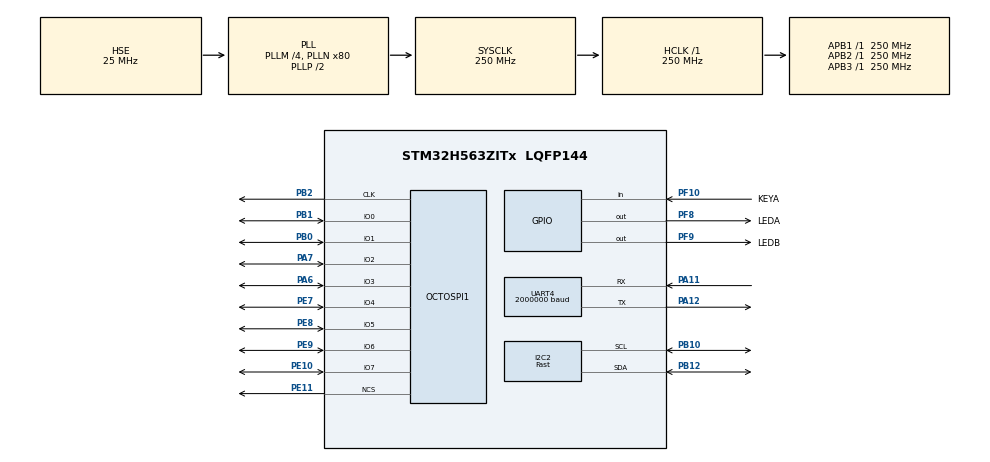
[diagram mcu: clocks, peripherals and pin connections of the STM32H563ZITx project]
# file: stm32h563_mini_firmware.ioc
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BOOTPATH.BootPathName=LEGACY
BOOTPATH.UserSelectedBootPath=LEGACY
CORTEX_M33_NS.userName=CORTEX_M33
GPDMA2.ADDRESSING2D_GPDMACH6=DISABLE
GPDMA2.CIRCULARMODE_GPDMACH0=ENABLE
GPDMA2.DESTINC_GPDMACH0=DMA_DINC_INCREMENTED
GPDMA2.DESTINC_GPDMACH7=DMA_DINC_INCREMENTED
GPDMA2.DIRECTION_GPDMACH1=DMA_MEMORY_TO_PERIPH
GPDMA2.DIRECTION_GPDMACH6=DMA_MEMORY_TO_PERIPH
GPDMA2.DMAHANDLE_GPDMACH6=hdmatx
GPDMA2.IPHANDLE_GPDMACH0-SIMPLEREQUEST_GPDMACH0=__NULL
GPDMA2.IPHANDLE_GPDMACH1-SIMPLEREQUEST_GPDMACH1=__NULL
GPDMA2.IPHANDLE_GPDMACH6-SIMPLEREQUEST_GPDMACH6=__NULL
GPDMA2.IPHANDLE_GPDMACH7-SIMPLEREQUEST_GPDMACH7=__NULL
GPDMA2.PRIORITY_GPDMACH1=DMA_LOW_PRIORITY_HIGH_WEIGHT
GPDMA2.PRIORITY_GPDMACH7=DMA_LOW_PRIORITY_MID_WEIGHT
GPDMA2.REQUEST_GPDMACH0=GPDMA2_REQUEST_UART4_RX
GPDMA2.REQUEST_GPDMACH1=GPDMA2_REQUEST_UART4_TX
GPDMA2.REQUEST_GPDMACH6=GPDMA2_REQUEST_OCTOSPI1
GPDMA2.REQUEST_GPDMACH7=GPDMA2_REQUEST_OCTOSPI1
GPDMA2.SRCINC_GPDMACH1=DMA_SINC_INCREMENTED
GPDMA2.SRCINC_GPDMACH6=DMA_SINC_INCREMENTED
I2C2.I2C_Speed_Mode=I2C_Fast
I2C2.Timing=0x10C043E5
Mcu.Family=STM32H5
Mcu.Name=STM32H563ZITx
Mcu.Package=LQFP144
Mcu.UserConstants=CARROT_CONTROLLER_HW,STM32H563_MINI
NVIC.GPDMA2_Channel0_IRQn=true\:0\:0\:false\:false\:true\:false\:true\:true
NVIC.GPDMA2_Channel1_IRQn=true\:0\:0\:false\:false\:true\:false\:true\:true
NVIC.GPDMA2_Channel6_IRQn=true\:0\:0\:false\:false\:true\:false\:true\:true
NVIC.GPDMA2_Channel7_IRQn=true\:0\:0\:false\:false\:true\:false\:true\:true
NVIC.OCTOSPI1_IRQn=true\:3\:0\:true\:false\:true\:true\:true\:true
NVIC.PriorityGroup=NVIC_PRIORITYGROUP_4
NVIC.TIM6_IRQn=true\:14\:0\:true\:false\:true\:true\:true\:true
NVIC.UART4_IRQn=true\:4\:0\:true\:false\:true\:true\:true\:true
OCTOSPI1.ChipSelectBoundary=HAL_XSPI_BONDARYOF_1KB
OCTOSPI1.ChipSelectHighTimeCycle=2
OCTOSPI1.ClockPrescaler=3
OCTOSPI1.DelayHoldQuarterCycle=HAL_XSPI_DHQC_DISABLE
OCTOSPI1.DeviceType=SPI_DEVICE_RAM
OCTOSPI1.MemorySize=HAL_XSPI_SIZE_64MB
OCTOSPI1.MemoryType=HAL_XSPI_MEMTYPE_APMEM
OCTOSPI1.Refresh=500
OCTOSPI1.WrapSize=HAL_XSPI_WRAP_32_BYTES
PA11.Mode=Asynchronous
PA11.Signal=UART4_RX
PA12.Mode=Asynchronous
PA12.Signal=UART4_TX
PA13(JTMS/SWDIO).Mode=Serial_Wire
PA13(JTMS/SWDIO).Signal=DEBUG_JTMS-SWDIO
PA14(JTCK/SWCLK).Mode=Serial_Wire
PA14(JTCK/SWCLK).Signal=DEBUG_JTCK-SWCLK
PA15(JTDI).GPIO_Speed=GPIO_SPEED_FREQ_VERY_HIGH
PA15(JTDI).Signal=SPI3_NSS
PA4.GPIO_Speed=GPIO_SPEED_FREQ_VERY_HIGH
PA4.Signal=SPI1_NSS
PA6.Mode=OCTOSPI1_IO_Octo
PA6.Signal=OCTOSPI1_IO3
PA7.Mode=OCTOSPI1_IO_Octo
PA7.Signal=OCTOSPI1_IO2
PB0.Mode=OCTOSPI1_IO_Octo
PB0.Signal=OCTOSPI1_IO1
PB1.Mode=OCTOSPI1_IO_Octo
PB1.Signal=OCTOSPI1_IO0
PB10.Mode=I2C
PB10.Signal=I2C2_SCL
PB12.Mode=I2C
PB12.Signal=I2C2_SDA
PB2.Mode=dual_quad_mode
PB2.Signal=OCTOSPI1_CLK
PB3(JTDO/TRACESWO).GPIO_Speed=GPIO_SPEED_FREQ_VERY_HIGH
PB3(JTDO/TRACESWO).Signal=SPI1_SCK
PB4(NJTRST).GPIO_Speed=GPIO_SPEED_FREQ_VERY_HIGH
PB4(NJTRST).Signal=SPI1_MISO
PB5.GPIO_Speed=GPIO_SPEED_FREQ_VERY_HIGH
PB5.Signal=SPI1_MOSI
PC10.GPIO_Speed=GPIO_SPEED_FREQ_VERY_HIGH
PC10.Signal=SPI3_SCK
PC11.GPIO_Speed=GPIO_SPEED_FREQ_VERY_HIGH
PC11.Signal=SPI3_MISO
PC12.GPIO_Speed=GPIO_SPEED_FREQ_VERY_HIGH
PC12.Signal=SPI3_MOSI
PE10.Mode=OCTOSPI1_IO_Octo
PE10.Signal=OCTOSPI1_IO7
PE11.Mode=dual_quad_mode
PE11.Signal=OCTOSPI1_NCS
PE7.Mode=OCTOSPI1_IO_Octo
PE7.Signal=OCTOSPI1_IO4
PE8.Mode=OCTOSPI1_IO_Octo
PE8.Signal=OCTOSPI1_IO5
PE9.Mode=OCTOSPI1_IO_Octo
PE9.Signal=OCTOSPI1_IO6
PF10.GPIO_Label=KEYA
PF10.GPIO_PuPd=GPIO_PULLUP
PF10.Signal=GPIO_Input
PF8.GPIO_Label=LEDA
PF8.GPIO_Speed=GPIO_SPEED_FREQ_VERY_HIGH
PF8.PinState=GPIO_PIN_SET
PF8.Signal=GPIO_Output
PF9.GPIO_Label=LEDB
PF9.GPIO_Speed=GPIO_SPEED_FREQ_VERY_HIGH
PF9.PinState=GPIO_PIN_SET
PF9.Signal=GPIO_Output
PH0-OSC_IN(PH0).Mode=HSE-External-Oscillator
PH0-OSC_IN(PH0).Signal=RCC_OSC_IN
PH1-OSC_OUT(PH1).Mode=HSE-External-Oscillator
PH1-OSC_OUT(PH1).Signal=RCC_OSC_OUT
ProjectManager.HeapSize=0x2000
ProjectManager.StackSize=0x2000
ProjectManager.TargetToolchain=MDK-ARM V5.37
RCC.ADCFreq_Value=250000000
RCC.AHBFreq_Value=250000000
RCC.APB1Freq_Value=250000000
RCC.APB1TimFreq_Value=250000000
RCC.APB2Freq_Value=250000000
RCC.APB2TimFreq_Value=250000000
RCC.APB3Freq_Value=250000000
RCC.CSI_VALUE=4000000
RCC.CortexFreq_Value=250000000
RCC.EPOD_VALUE=25000000
RCC.HCLKFreq_Value=250000000
RCC.HSE_VALUE=25000000
RCC.HSI48_VALUE=48000000
RCC.HSI_VALUE=64000000
RCC.LSE_VALUE=32768
RCC.LSIRC_VALUE=32000
RCC.PLL1Q=5
RCC.PLL2M=5
RCC.PLL2N=80
RCC.PLL2Source=RCC_PLL2_SOURCE_HSE
RCC.PLL3M=4
RCC.PLL3N=80
RCC.PLL3Source=RCC_PLL3_SOURCE_HSE
RCC.PLLM=4
RCC.PLLN=80
RCC.PLLSourceVirtual=RCC_PLL1_SOURCE_HSE
RCC.SPI1CLockSelection=RCC_SPI1CLKSOURCE_PLL2P
RCC.SPI3CLockSelection=RCC_SPI3CLKSOURCE_PLL2P
RCC.SYSCLKFreq_VALUE=250000000
RCC.SYSCLKSource=RCC_SYSCLKSOURCE_PLLCLK
RCC.USBFreq_Value=48000000
RCC.VCOOutputFreq_Value=500000000
TIM6.PeriodNoDither=1000-1
TIM6.Prescaler=250-1
UART4.BaudRate=2000000
VP_BOOTPATH_VS_BOOTPATH.Mode=BP_Activate
VP_CORTEX_M33_NS_VS_Hclk.Mode=Hclk_Mode
VP_GPDMA2_VS_GPDMACH0.Mode=SIMPLEREQUEST_GPDMACH0
VP_GPDMA2_VS_GPDMACH1.Mode=SIMPLEREQUEST_GPDMACH1
VP_GPDMA2_VS_GPDMACH6.Mode=SIMPLEREQUEST_GPDMACH6
VP_GPDMA2_VS_GPDMACH7.Mode=SIMPLEREQUEST_GPDMACH7
VP_ICACHE_VS_ICACHE.Mode=DefaultMode
VP_MEMORYMAP_VS_MEMORYMAP.Mode=CurAppReg
VP_PWR_VS_DBSignals.Mode=DisableDeadBatterySignals
VP_PWR_VS_LPOM.Mode=PowerOptimisation
VP_PWR_VS_SECSignals.Mode=Security/Privilege
VP_TIM6_VS_ClockSourceINT.Mode=Enable_Timer
board=custom

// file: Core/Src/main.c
/* USER CODE BEGIN Header */
/**
  ******************************************************************************
  * @file           : main.c
  * @brief          : Main program body
  ******************************************************************************
  * @attention
  *
  * Copyright (c) 2025 STMicroelectronics.
  * All rights reserved.
  *
  * This software is licensed under terms that can be found in the LICENSE file
  * in the root directory of this software component.
  * If no LICENSE file comes with this software, it is provided AS-IS.
  *
  ******************************************************************************
  */
/* USER CODE END Header */
#include "main.h"
#include "gpdma.h"
#include "i2c.h"
#include "icache.h"
#include "memorymap.h"
#include "octospi.h"
#include "tim.h"
#include "usart.h"
#include "gpio.h"

/* USER CODE BEGIN Includes */
#include "bsp_init.h"
#include "template_func.h"

/* USER CODE END Includes */

void SystemClock_Config(void);

/* USER CODE BEGIN 0 */
void tim5_callback(TIM_HandleTypeDef* htim)
{
    // printf("tim5_callback() called.\r\n");

    write_msg("tim5_callback() called.\r\n");
}

int8_t command_proc(comm_t* comm)
{
    if (comm == NULL)
        return -128;

    uint8_t recv_bytes[256];
    uint16_t recv_len = 0;

    dynpool_t pool;

    //printf("[INFO]: waiting for command\r\n");
    recv_len = comm->read(comm->handle, recv_bytes, sizeof(recv_bytes));
    if (recv_len != 0)
    {
        if (recv_len == (uint16_t)UART_RINGBUF_READ_BUF_OVF)
        {
            printf("[ERROR]: A command was dropped because it was too long, error code = %d.\r\n", recv_len);
            return UART_RINGBUF_READ_BUF_OVF;
        }
        else if (recv_len == (uint16_t)UART_RINGBUF_IS_NOT_CIRCULAR)
        {
            printf("[ERROR]: DMA config is not circular mode, error code = %d.\r\n", recv_len);
            return UART_RINGBUF_IS_NOT_CIRCULAR;
        }

        printf("[INFO]: recv_len=%d.\r\n", recv_len);
        char* cmd = (char*)recv_bytes;
        int8_t status = cmdparse_from_string(&pool, cmd, &recv_len);
        if (status == CMDPARSE_OK)
        {
            printf("[INFO]: cmdparse from string ok.\r\n");
            comm->write(comm->handle, recv_bytes, recv_len);
            dyncall_status_t status = invoke_by_cmd(&pool);
            return status;
        }
        else
        {
            printf("[ERROR]: cmdparse from string err, error code = %d.\r\n", status);
            //comm->write(comm->handle, recv_bytes, recv_len);
            return -127;
        }
    }
    return 0;
}
/* USER CODE END 0 */

int main(void)
{

  /* MCU Configuration--------------------------------------------------------*/

  /* Reset of all peripherals, Initializes the Flash interface and the Systick. */
  HAL_Init();

  /* Configure the system clock */
  SystemClock_Config();

  /* Initialize all configured peripherals */
  MX_GPIO_Init();
  MX_GPDMA2_Init();
  MX_ICACHE_Init();
  MX_TIM6_Init();
  MX_OCTOSPI1_Init();
  MX_UART4_Init();
  MX_I2C2_Init();
  /* USER CODE BEGIN 2 */

    bsp_init();
    register_rpc_group(&template_func_group);

    write_msg("helloworld\r\n");

    // printf test
    //printf("[DEBUG]: IO RETARGET TEST\r\n");
    //printf("[INFO]: --- STM32H563ZIT6 TESTING CONTROL PROGRAM ---\r\n");
    //printf("[INFO]: FIRMWARE COMPILE TIME: %s %s\r\n", __DATE__, __TIME__);

    // tim callback resigter and open
    //HAL_TIM_RegisterCallback(&htim5, HAL_TIM_PERIOD_ELAPSED_CB_ID, tim5_callback);
    //HAL_TIM_Base_Start_IT(&htim5);

  /* USER CODE END 2 */

  /* Infinite loop */
  /* USER CODE BEGIN WHILE */
    while (1)
    {
        cdelay_ms(1);

        command_proc(default_comm);

    /* USER CODE END WHILE */

    }
}

void SystemClock_Config(void)
{
  RCC_OscInitTypeDef RCC_OscInitStruct = {0};
  RCC_ClkInitTypeDef RCC_ClkInitStruct = {0};

  /** Configure the main internal regulator output voltage
  */
  __HAL_PWR_VOLTAGESCALING_CONFIG(PWR_REGULATOR_VOLTAGE_SCALE0);

  while(!__HAL_PWR_GET_FLAG(PWR_FLAG_VOSRDY)) {}

  /** Initializes the RCC Oscillators according to the specified parameters
  * in the RCC_OscInitTypeDef structure.
  */
  RCC_OscInitStruct.OscillatorType = RCC_OSCILLATORTYPE_HSE;
  RCC_OscInitStruct.HSEState = RCC_HSE_ON;
  RCC_OscInitStruct.PLL.PLLState = RCC_PLL_ON;
  RCC_OscInitStruct.PLL.PLLSource = RCC_PLL1_SOURCE_HSE;
  RCC_OscInitStruct.PLL.PLLM = 4;
  RCC_OscInitStruct.PLL.PLLN = 80;
  RCC_OscInitStruct.PLL.PLLP = 2;
  RCC_OscInitStruct.PLL.PLLQ = 5;
  RCC_OscInitStruct.PLL.PLLR = 2;
  RCC_OscInitStruct.PLL.PLLRGE = RCC_PLL1_VCIRANGE_2;
  RCC_OscInitStruct.PLL.PLLVCOSEL = RCC_PLL1_VCORANGE_WIDE;
  RCC_OscInitStruct.PLL.PLLFRACN = 0;
  if (HAL_RCC_OscConfig(&RCC_OscInitStruct) != HAL_OK)
  {
    Error_Handler();
  }

  /** Initializes the CPU, AHB and APB buses clocks
  */
  RCC_ClkInitStruct.ClockType = RCC_CLOCKTYPE_HCLK|RCC_CLOCKTYPE_SYSCLK
                              |RCC_CLOCKTYPE_PCLK1|RCC_CLOCKTYPE_PCLK2
                              |RCC_CLOCKTYPE_PCLK3;
  RCC_ClkInitStruct.SYSCLKSource = RCC_SYSCLKSOURCE_PLLCLK;
  RCC_ClkInitStruct.AHBCLKDivider = RCC_SYSCLK_DIV1;
  RCC_ClkInitStruct.APB1CLKDivider = RCC_HCLK_DIV1;
  RCC_ClkInitStruct.APB2CLKDivider = RCC_HCLK_DIV1;
  RCC_ClkInitStruct.APB3CLKDivider = RCC_HCLK_DIV1;

  if (HAL_RCC_ClockConfig(&RCC_ClkInitStruct, FLASH_LATENCY_5) != HAL_OK)
  {
    Error_Handler();
  }

  /** Configure the programming delay
  */
  __HAL_FLASH_SET_PROGRAM_DELAY(FLASH_PROGRAMMING_DELAY_2);
}

void Error_Handler(void)
{
    __disable_irq();
    while (1)
    {
    }
}
